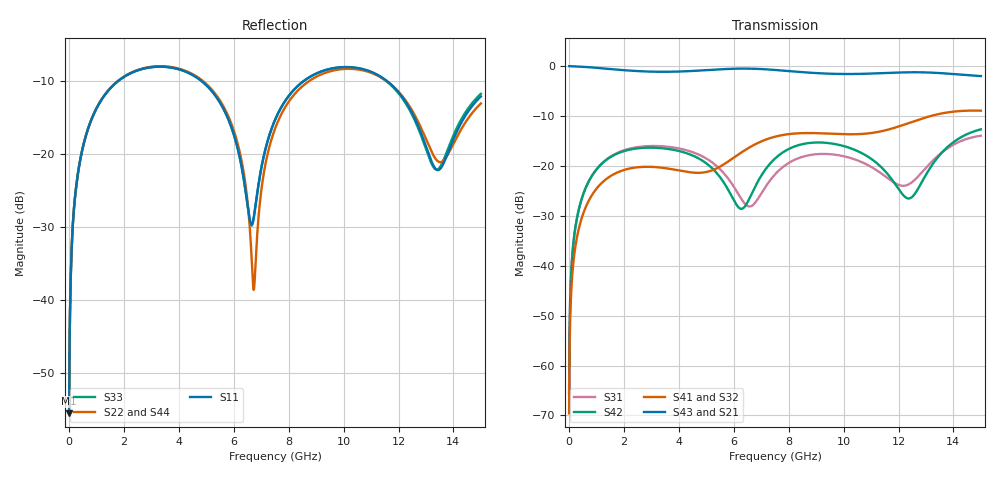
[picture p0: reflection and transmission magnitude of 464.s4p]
! Created with skrf 1.8.0 (http://scikit-rf.org).
# GHz S RI R 50.0
!freq ReS11 ImS11 ReS12 ImS12 ReS13 ImS13
! ReS14 ImS14
! ReS21 ImS21 ReS22 ImS22 ReS23 ImS23
! ReS24 ImS24
! ReS31 ImS31 ReS32 ImS32 ReS33 ImS33
! ReS34 ImS34
! ReS41 ImS41 ReS42 ImS42 ReS43 ImS43
! ReS44 ImS44
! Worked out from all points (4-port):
!   2499 points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, 5 MHz to 15 GHz, reference 50 ohm
!   strongest paths, dB at 5 MHz, 3.476 GHz, 7.19 GHz, 11.1 GHz, 15 GHz:
!     S43: 0.0, -1.1, -0.6, -1.5, -2.0
!     S21: 0.0, -1.1, -0.6, -1.5, -2.0
!     S41: -69.6, -20.4, -14.7, -13.3, -8.9
!     S32: -69.6, -20.5, -14.7, -13.4, -9.0
!     S42: -65.6, -16.5, -20.4, -18.9, -12.7
!     S31: -65.6, -16.1, -23.9, -20.5, -13.9
!   lowest |S11| = -55.4 dB at 5 MHz (marker M1), VSWR 1.00, Z = 50.1 + j0.103 ohm
!   |S11| at or under -10 dB: start of sweep to 1.814 GHz; 4.806 GHz to 8.572 GHz (3.766 GHz wide, 56.3 % of centre); 11.56 GHz to end of sweep
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0.005  0.00134 0.00102  0.9986 -0.00262  6.62e-05 0.000518  -6.44e-05 -0.000326
       0.9986 -0.00262  0.00134 0.00102  -6.44e-05 -0.000326  6.61e-05 0.000518
       6.62e-05 0.000518  -6.44e-05 -0.000326  0.00134 0.00102  0.9986 -0.00262
       -6.44e-05 -0.000326  6.61e-05 0.000518  0.9986 -0.00262  0.00134 0.00102
0.4126719  0.0261 0.0877  0.9638 -0.2134  0.0126 0.0401  -0.0102 -0.0249
           0.9638 -0.2134  0.0263 0.0877  -0.0101 -0.0249  0.0119 0.0403
           0.0126 0.0401  -0.0101 -0.0249  0.0261 0.0877  0.9638 -0.2134
           -0.0102 -0.0249  0.0119 0.0403  0.9638 -0.2134  0.0263 0.0877
2.125886  0.3039 0.1643  0.468 -0.7742  0.1413 0.0411  -0.0928 0.00747
          0.468 -0.7742  0.3071 0.1615  -0.0926 0.00731  0.1329 0.0552
          0.1413 0.0411  -0.0926 0.00731  0.3039 0.1642  0.4681 -0.7742
          -0.0928 0.00747  0.1329 0.0552  0.4681 -0.7742  0.307 0.1616
5.47103  0.153 -0.1692  -0.7259 -0.5771  0.00719 -0.0942  -0.0415 0.0882
         -0.7259 -0.5771  0.143 -0.1866  -0.0426 0.0873  0.0624 -0.0487
         0.00719 -0.0942  -0.0426 0.0873  0.1524 -0.1694  -0.726 -0.5772
         -0.0415 0.0882  0.0624 -0.0487  -0.726 -0.5772  0.1431 -0.1859
6.665277  0.0329 0.00295  -0.9393 -0.0732  -0.0359 0.0175  -0.00713 0.1583
          -0.9393 -0.0732  0.0118 -0.0126  -0.00936 0.1582  0.0456 0.0278
          -0.0359 0.0175  -0.00936 0.1582  0.0323 0.00315  -0.9393 -0.0734
          -0.00713 0.1583  0.0456 0.0278  -0.9393 -0.0734  0.0121 -0.0124
10.70446  0.3689 -0.0847  0.1305 0.8261  0.0691 -0.0828  0.1957 -0.0748
          0.1305 0.8261  0.3656 -0.0629  0.1966 -0.0701  0.0731 -0.1105
          0.0691 -0.0828  0.1966 -0.0701  0.367 -0.0842  0.1303 0.8271
          0.1957 -0.0748  0.0731 -0.1105  0.1303 0.8271  0.3629 -0.062
15  0.2163 0.1175  0.6647 -0.4381  0.1601 0.1212  -0.2499 -0.2561
    0.6647 -0.4381  0.1977 0.0972  -0.2416 -0.2601  0.2172 0.083
    0.1601 0.1212  -0.2416 -0.2601  0.2259 0.1213  0.6632 -0.4376
    -0.2499 -0.2561  0.2172 0.083  0.6632 -0.4376  0.1954 0.1049
